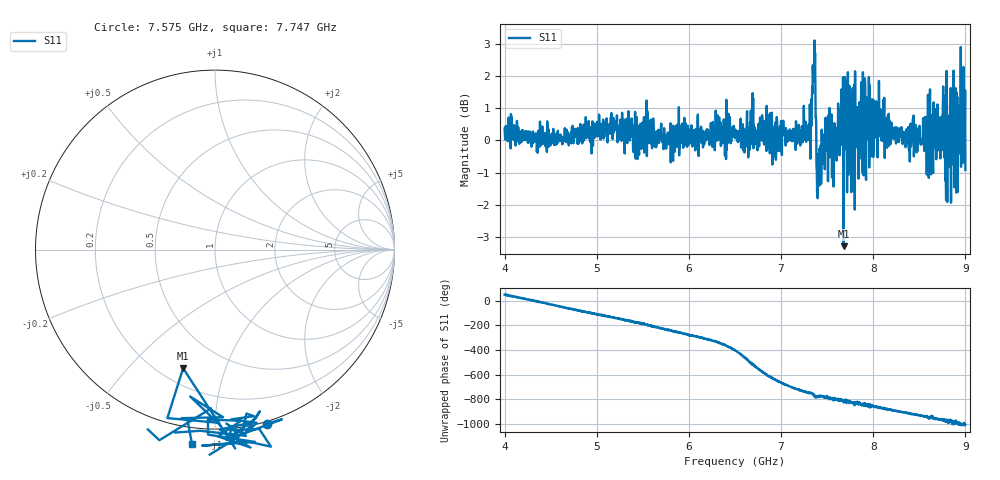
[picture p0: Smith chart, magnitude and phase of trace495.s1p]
! Created with skrf 1.8.0 (http://scikit-rf.org).
# Hz S RI R 50.0
!freq ReS11 ImS11
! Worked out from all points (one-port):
!   1601 points, 4 GHz to 9 GHz, reference 50 ohm
!   lowest |S11| = -3.3 dB at 7.678 GHz (marker M1), VSWR 5.34, Z = 14.6 - j36.3 ohm
!   |S11| at or under -10 dB: nowhere
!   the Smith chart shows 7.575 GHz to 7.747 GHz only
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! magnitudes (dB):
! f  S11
! 4 GHz  0.4
! 4.625 GHz  -0.1
! 5.25 GHz  0.0
! 5.875 GHz  -0.1
! 6.5 GHz  0.3
! 7.125 GHz  0.2
! 7.294 GHz  0.0
! 7.347 GHz  2.1
! 7.362 GHz  3.1
! 7.4 GHz  -0.4
! 7.412 GHz  -0.8
! 7.503 GHz  0.7
! 7.578 GHz  0.1
! 7.678 GHz  -3.3
! 7.703 GHz  0.1
! 7.75 GHz  0.0
! 7.775 GHz  1.4
! 7.828 GHz  0.5
! 7.981 GHz  0.2
! 8.05 GHz  1.0
! 8.375 GHz  -0.1
! 8.625 GHz  -0.5
! 8.775 GHz  1.1
! 8.844 GHz  -1.9
! 8.941 GHz  1.1
! 8.956 GHz  0.4
! 8.972 GHz  0.7
! 9 GHz  -0.9
